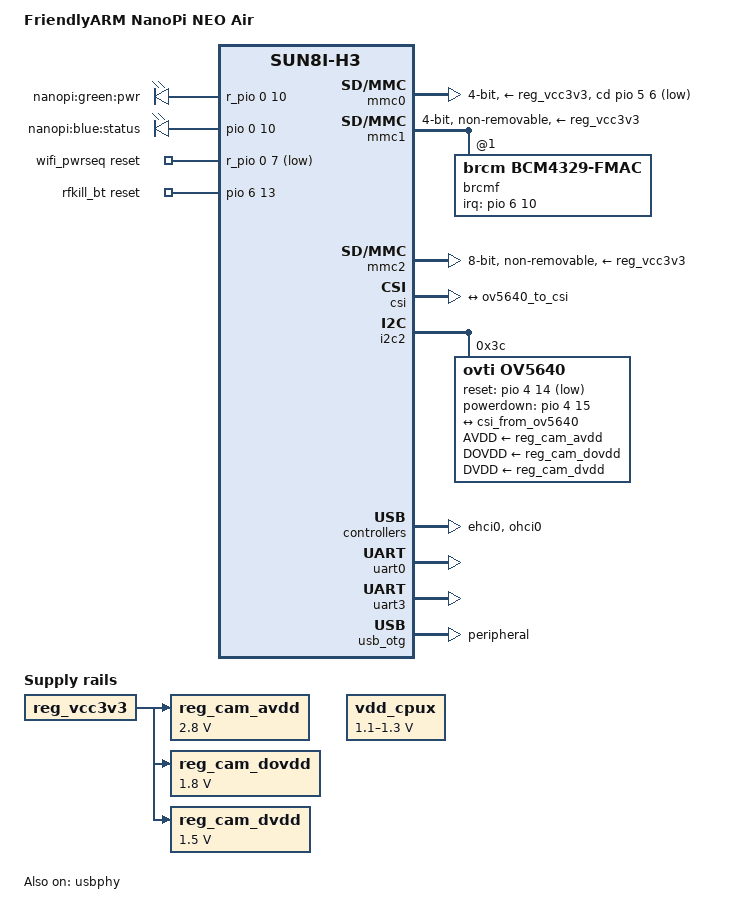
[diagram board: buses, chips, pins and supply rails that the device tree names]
/*
 * Copyright (C) 2017 Jelle van der Waa <jelle@vdwaa.nl>
 *
 * This file is dual-licensed: you can use it either under the terms
 * of the GPL or the X11 license, at your option. Note that this dual
 * licensing only applies to this file, and not this project as a
 * whole.
 *
 *  a) This file is free software; you can redistribute it and/or
 *     modify it under the terms of the GNU General Public License as
 *     published by the Free Software Foundation; either version 2 of the
 *     License, or (at your option) any later version.
 *
 *     This file is distributed in the hope that it will be useful,
 *     but WITHOUT ANY WARRANTY; without even the implied warranty of
 *     MERCHANTABILITY or FITNESS FOR A PARTICULAR PURPOSE.  See the
 *     GNU General Public License for more details.
 *
 * Or, alternatively,
 *
 *  b) Permission is hereby granted, free of charge, to any person
 *     obtaining a copy of this software and associated documentation
 *     files (the "Software"), to deal in the Software without
 *     restriction, including without limitation the rights to use,
 *     copy, modify, merge, publish, distribute, sublicense, and/or
 *     sell copies of the Software, and to permit persons to whom the
 *     Software is furnished to do so, subject to the following
 *     conditions:
 *
 *     The above copyright notice and this permission notice shall be
 *     included in all copies or substantial portions of the Software.
 *
 *     THE SOFTWARE IS PROVIDED "AS IS", WITHOUT WARRANTY OF ANY KIND,
 *     EXPRESS OR IMPLIED, INCLUDING BUT NOT LIMITED TO THE WARRANTIES
 *     OF MERCHANTABILITY, FITNESS FOR A PARTICULAR PURPOSE AND
 *     NONINFRINGEMENT. IN NO EVENT SHALL THE AUTHORS OR COPYRIGHT
 *     HOLDERS BE LIABLE FOR ANY CLAIM, DAMAGES OR OTHER LIABILITY,
 *     WHETHER IN AN ACTION OF CONTRACT, TORT OR OTHERWISE, ARISING
 *     FROM, OUT OF OR IN CONNECTION WITH THE SOFTWARE OR THE USE OR
 *     OTHER DEALINGS IN THE SOFTWARE.
 */

/dts-v1/;
#include "sun8i-h3.dtsi"
#include "sunxi-common-regulators.dtsi"

#include <dt-bindings/gpio/gpio.h>

/ {
	model = "FriendlyARM NanoPi NEO Air";
	compatible = "friendlyarm,nanopi-neo-air", "allwinner,sun8i-h3";

	aliases {
		serial0 = &uart0;
	};

	chosen {
		stdout-path = "serial0:115200n8";
	};

	leds {
		compatible = "gpio-leds";

		led-0 {
			label = "nanopi:green:pwr";
			gpios = <&r_pio 0 10 GPIO_ACTIVE_HIGH>; /* PL10 */
			default-state = "on";
		};

		led-1 {
			label = "nanopi:blue:status";
			gpios = <&pio 0 10 GPIO_ACTIVE_HIGH>; /* PA10 */
			linux,default-trigger = "heartbeat";
		};
	};

	vdd_cpux: gpio-regulator {
		compatible = "regulator-gpio";
		pinctrl-names = "default";
		regulator-name = "vdd-cpux";
		regulator-type = "voltage";
		regulator-boot-on;
		regulator-always-on;
		regulator-min-microvolt = <1100000>;
		regulator-max-microvolt = <1300000>;
		regulator-ramp-delay = <50>; /* 4ms */
		gpios = <&r_pio 0 6 GPIO_ACTIVE_HIGH>; /* PL6 */
		gpios-states = <0x1>;
		states = <1100000 0x0
			  1300000 0x1>;
	};

	wifi_pwrseq: wifi_pwrseq {
		compatible = "mmc-pwrseq-simple";
		pinctrl-names = "default";
		pinctrl-0 = <&wifi_en_npi>;
		reset-gpios = <&r_pio 0 7 GPIO_ACTIVE_LOW>; /* PL7 */
		post-power-on-delay-ms = <200>;
	};

	rfkill_bt {
		compatible = "rfkill-gpio";
		pinctrl-names = "default";
		pinctrl-0 = <&bt_pwr_pin>;
		reset-gpios = <&pio 6 13 GPIO_ACTIVE_HIGH>; /* PG13 */
		clocks = <&osc32k>;
		clock-frequency = <32768>;
		rfkill-name = "sunxi-bt";
		rfkill-type = "bluetooth";
	};

	cam_xclk: cam-xclk {
		#clock-cells = <0>;
		compatible = "fixed-clock";
		clock-frequency = <24000000>;
		clock-output-names = "cam-xclk";
	};

	reg_cam_avdd: cam-avdd {
		compatible = "regulator-fixed";
		regulator-name = "cam500b-avdd";
		regulator-min-microvolt = <2800000>;
		regulator-max-microvolt = <2800000>;
		vin-supply = <&reg_vcc3v3>;
	};

	reg_cam_dovdd: cam-dovdd {
		compatible = "regulator-fixed";
		regulator-name = "cam500b-dovdd";
		regulator-min-microvolt = <1800000>;
		regulator-max-microvolt = <1800000>;
		vin-supply = <&reg_vcc3v3>;
	};

	reg_cam_dvdd: cam-dvdd {
		compatible = "regulator-fixed";
		regulator-name = "cam500b-dvdd";
		regulator-min-microvolt = <1500000>;
		regulator-max-microvolt = <1500000>;
		vin-supply = <&reg_vcc3v3>;
	};

};

&cpu0 {
	cpu-supply = <&vdd_cpux>;
};

&pio {
	bt_pwr_pin: bt_pwr_pin@0 {
		pins = "PG13";
		function = "gpio_out";
	};
};

&r_pio {
	wifi_en_npi: wifi_en_pin {
		pins = "PL7";
		function = "gpio_out";
	};
 };

&mmc0 {
	vmmc-supply = <&reg_vcc3v3>;
	bus-width = <4>;
	cd-gpios = <&pio 5 6 GPIO_ACTIVE_LOW>; /* PF6 */
	status = "okay";
};

&mmc1 {
	vmmc-supply = <&reg_vcc3v3>;
	vqmmc-supply = <&reg_vcc3v3>;
	mmc-pwrseq = <&wifi_pwrseq>;
	bus-width = <4>;
	non-removable;
	status = "okay";

	brcmf: bcrmf@1 {
		reg = <1>;
		compatible = "brcm,bcm4329-fmac";
		interrupt-parent = <&pio>;
		interrupts = <6 10 IRQ_TYPE_LEVEL_LOW>; /* PG10 / EINT10 */
		interrupt-names = "host-wake";
	};
};

&mmc2 {
	pinctrl-names = "default";
	pinctrl-0 = <&mmc2_8bit_pins>;
	vmmc-supply = <&reg_vcc3v3>;
	bus-width = <8>;
	non-removable;
	cap-mmc-hw-reset;
	status = "okay";
};

&mmc2_8bit_pins {
	/* Increase drive strength for DDR modes */
	drive-strength = <40>;
	/* eMMC is missing pull-ups */
	bias-pull-up;
};

&csi {
    status = "okay";

    port {
        #address-cells = <1>;
        #size-cells = <0>;

        /* Parallel bus endpoint */
        csi_from_ov5640: endpoint {
            remote-endpoint = <&ov5640_to_csi>;
            bus-width = <8>;
            data-shift = <2>;
            hsync-active = <1>; /* Active high */
            vsync-active = <0>; /* Active low */
            data-active = <1>;  /* Active high */
            pclk-sample = <1>;  /* Rising */
        };
    };
};

&i2c2 {
   status = "okay";
   ov5640: camera@3c {
        compatible = "ovti,ov5640";
        reg = <0x3c>;
        clocks = <&cam_xclk>;
        clock-names = "xclk";

        reset-gpios = <&pio 4 14 GPIO_ACTIVE_LOW>;
        powerdown-gpios = <&pio 4 15 GPIO_ACTIVE_HIGH>;
        AVDD-supply = <&reg_cam_avdd>;
        DOVDD-supply = <&reg_cam_dovdd>;
        DVDD-supply = <&reg_cam_dvdd>;

        port {
            ov5640_to_csi: endpoint {
                remote-endpoint = <&csi_from_ov5640>;
                bus-width = <8>;
                data-shift = <2>;
                hsync-active = <1>; /* Active high */
                vsync-active = <0>; /* Active low */
                data-active = <1>;  /* Active high */
                pclk-sample = <1>;  /* Rising */
            };
        };
    };
};

&i2c2_pins {
   bias-pull-up;
};

&ehci0 {
	status = "okay";
};

&ohci0 {
	status = "okay";
};

&uart0 {
	pinctrl-names = "default";
	pinctrl-0 = <&uart0_pa_pins>;
	status = "okay";
};

&uart3 {
	pinctrl-names = "default";
	pinctrl-0 = <&uart3_pins>, <&uart3_rts_cts_pins>;
	status = "okay";
};

&usb_otg {
	dr_mode = "peripheral";
	status = "okay";
};

&usbphy {
	/* USB VBUS is always on */
	status = "okay";
};
